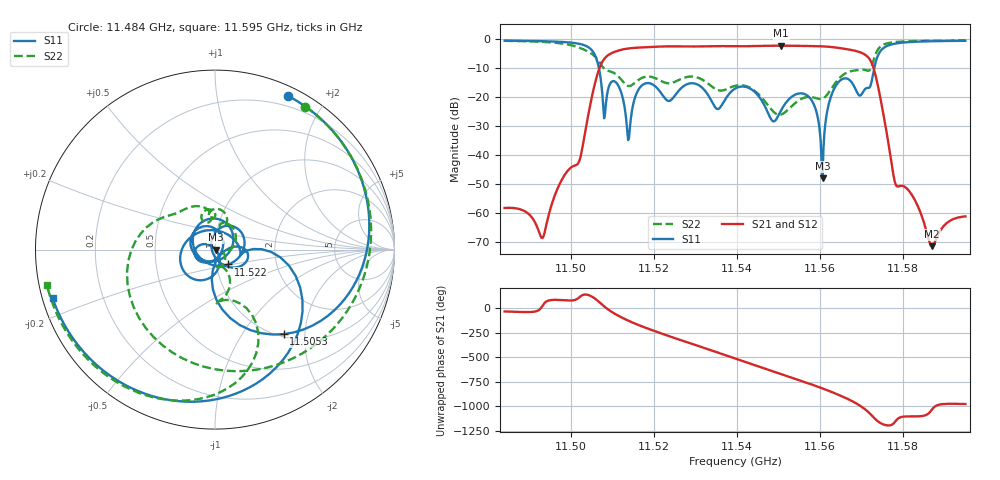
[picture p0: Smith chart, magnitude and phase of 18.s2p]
# Hz S DB R 50
! Planar, S50244, 24171007, 25.4.1/6
! Date: 30.10.2025 10:43:31
! Data: Format (Calibration Info)
! Freq	S11:dB/Ang(F2)	S21:dB/Ang(F2)	S12:dB/Ang(F2)	S22:dB/Ang(F2)
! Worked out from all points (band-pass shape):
!   501 points, 11.484 GHz to 11.595 GHz, reference 50 ohm
!   highest |S21| = -2.19 dB at 11.5506 GHz (marker M1); lowest = -71.6 dB at 11.587 GHz (marker M2)
!   |S21| within 3 dB of the highest: 11.5092 GHz to 11.5707 GHz (61.46 MHz wide, 0.533 % of centre)
!   lowest |S11| = -48.1 dB at 11.5606 GHz (marker M3), VSWR 1.01, Z = 50.4 - j0.0282 ohm
!   |S11| at or under -10 dB: 11.5067 GHz to 11.573 GHz (66.32 MHz wide, 0.575 % of centre)
!   |S22| runs from -26.1 to -0.4 dB; largest |S21 - S12| = 0.0093
!   S11 on the Smith chart (normalised r, x): 11.484 GHz: 0.09, +1.58; 11.5053 GHz: 1.05, -1.56; 11.522 GHz: 1.14, -0.19; 11.595 GHz: 0.03, -0.15
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1.1484e10  -0.47 64.7  -58.38 -31.1  -58.46 -29.8  -0.52 57.7
1.14931e10  -0.64 43.4  -68.78 23.9  -68.74 24.7  -0.86 25.3
1.150265e10  -1.78 -10.0  -38.21 133.1  -38.22 131.6  -3.25 -80.1
1.150531e10  -4.34 -50.9  -18.01 113.3  -18.22 112.4  -5.36 -151.7
1.150798e10  -27.31 -53.8  -6.81 20.8  -6.94 20.7  -10.10 141.9
1.151264e10  -21.46 -66.2  -3.44 -101.9  -3.48 -101.6  -14.87 95.9
1.151397e10  -34.06 162.7  -3.12 -128.5  -3.16 -128.5  -16.17 104.9
1.152107e10  -17.43 -23.1  -2.51 114.6  -2.59 114.9  -13.95 89.8
1.152196e10  -19.13 -48.3  -2.47 101.4  -2.52 101.6  -14.59 89.8
1.152973e10  -15.28 87.3  -2.47 -10.0  -2.53 -9.9  -12.96 82.6
1.153484e10  -23.70 -43.2  -2.33 -83.1  -2.36 -83.0  -17.24 69.0
1.15395e10  -17.08 167.2  -2.39 -150.8  -2.42 -150.7  -16.10 72.1
1.154594e10  -21.20 67.4  -2.26 117.1  -2.26 117.0  -20.18 6.8
1.15506e10  -24.58 -94.7  -2.19 50.4  -2.22 50.3  -26.05 -19.3
1.155815e10  -21.56 161.1  -2.33 -58.7  -2.31 -59.0  -20.04 -81.9
1.156059e10  -48.07 -4.1  -2.43 -96.4  -2.45 -96.7  -20.53 -75.1
1.15657e10  -13.57 -135.9  -3.22 175.1  -3.16 174.9  -12.13 -73.6
1.156925e10  -19.19 98.0  -4.28 97.4  -4.27 96.6  -10.59 -87.8
1.157191e10  -16.67 -11.1  -6.84 11.1  -6.82 10.8  -10.68 -73.8
1.157657e10  -2.03 -76.0  -37.02 -113.9  -36.98 -114.7  -1.24 -103.9
1.158701e10  -0.64 -142.9  -71.61 51.4  -71.63 50.0  -0.48 -151.3
1.1595e10  -0.50 -163.5  -61.30 104.7  -61.40 103.3  -0.38 -168.1
